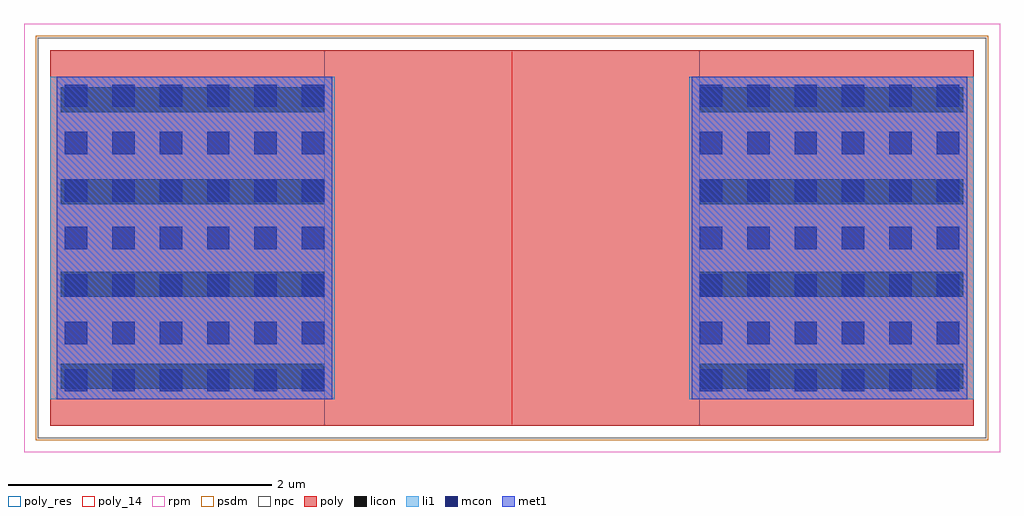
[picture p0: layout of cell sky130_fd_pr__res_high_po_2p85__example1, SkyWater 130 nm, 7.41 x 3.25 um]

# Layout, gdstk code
from math import pi, radians
import gdstk
lib = gdstk.Library(unit=1e-6, precision=1e-09)
def R(c, l, rs):  # rectangles x0, y0, x1, y1
    for r in rs: c.add(gdstk.rectangle(r[:2], r[2:], *l))
def A(c, l, x, y, w, h, nx, ny, dx, dy):  # array of equal rectangles
    R(c, l, [(x+i*dx, y+j*dy, x+i*dx+w, y+j*dy+h) for i in range(nx) for j in range(ny)])
poly_res = (66, 13)
poly_14 = (66, 14)
poly = (66, 20)
licon = (66, 44)
li1 = (67, 20)
mcon = (67, 44)
met1 = (68, 20)
rpm = (86, 20)
psdm = (94, 20)
npc = (95, 20)

sky130_fd_pr__res_high_p = lib.new_cell('sky130_fd_pr__res_high_pol1m1_2p85__example1')
R(sky130_fd_pr__res_high_p, li1, [(0,0,1.97,2.33)])
A(sky130_fd_pr__res_high_p, mcon, 0, 0, 0.17, 0.17, 6, 7, 0.36, 0.36)
R(sky130_fd_pr__res_high_p, met1, [(-0.06,-0.06,2.03,2.39)])

c_sky130_fd_pr__res_high_p = lib.new_cell('sky130_fd_pr__res_high_pol1_2p85__example1')
R(c_sky130_fd_pr__res_high_p, poly, [(0,0,2.16,2.45)])
A(c_sky130_fd_pr__res_high_p, licon, 0.08, 0.08, 2, 0.19, 1, 4, 0, 0.7)
R(c_sky130_fd_pr__res_high_p, li1, [(0,0,2.16,2.45)])

c_sky130_fd_pr__res_high_p_ = lib.new_cell('sky130_fd_pr__res_high_po_2p85__example1')
R(c_sky130_fd_pr__res_high_p_, poly_res, [(0,0,2.85,2.85)])
R(c_sky130_fd_pr__res_high_p_, poly_14, [(1.423,0,1.428,2.85)])
R(c_sky130_fd_pr__res_high_p_, poly, [(-2.08,0,4.93,2.85)])
R(c_sky130_fd_pr__res_high_p_, li1, [(-2.08,0.2,0.08,2.65), (2.77,0.2,4.93,2.65)])
R(c_sky130_fd_pr__res_high_p_, met1, [(-2.03,0.2,0.06,2.65), (2.79,0.2,4.88,2.65)])
R(c_sky130_fd_pr__res_high_p_, rpm, [(-2.28,-0.2,5.13,3.05)])
R(c_sky130_fd_pr__res_high_p_, psdm, [(-2.19,-0.11,5.04,2.96)])
R(c_sky130_fd_pr__res_high_p_, npc, [(-2.175,-0.095,5.025,2.945)])
c_sky130_fd_pr__res_high_p_.add(gdstk.Reference(sky130_fd_pr__res_high_p, (2.85,0.26)))
c_sky130_fd_pr__res_high_p_.add(gdstk.Reference(sky130_fd_pr__res_high_p, (0,0.26), rotation=pi, x_reflection=True))
c_sky130_fd_pr__res_high_p_.add(gdstk.Reference(c_sky130_fd_pr__res_high_p, (2.77,0.2)))
c_sky130_fd_pr__res_high_p_.add(gdstk.Reference(c_sky130_fd_pr__res_high_p, (0.08,0.2), rotation=pi, x_reflection=True))

lib.write_gds('sky130_fd_pr__res_high_po_2p85__example1.gds')
